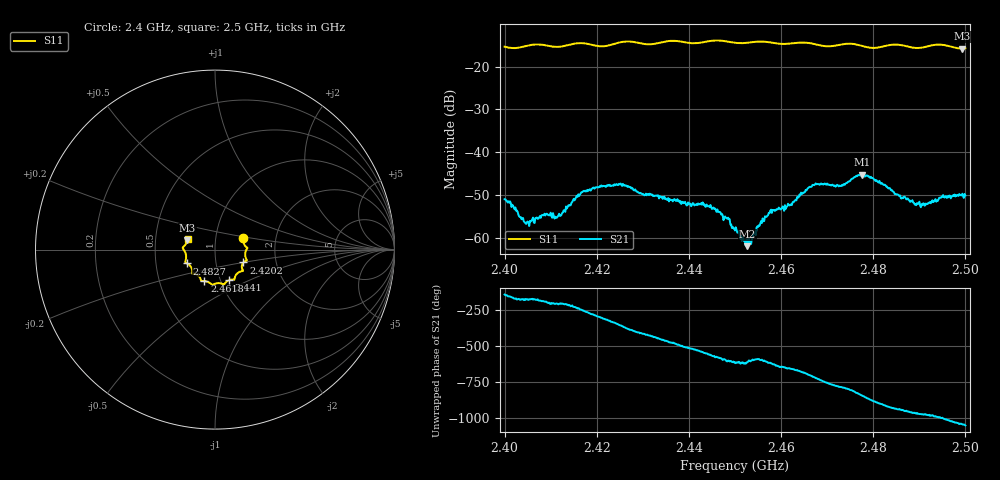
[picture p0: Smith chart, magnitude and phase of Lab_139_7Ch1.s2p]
# Hz S RI R 50
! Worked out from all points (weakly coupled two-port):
!   601 points, 2.4 GHz to 2.5 GHz, reference 50 ohm
!   highest |S21| = -45.27 dB at 2.4777 GHz (marker M1); lowest = -62.0 dB at 2.4527 GHz (marker M2)
!   lowest |S11| = -15.8 dB at 2.4993 GHz (marker M3), VSWR 1.39, Z = 36.5 + j3.85 ohm
!   |S11| at or under -10 dB: start of sweep to end of sweep
!   S12 and S22 are empty: the file has one direction only
!   S11 on the Smith chart (normalised r, x): 2.4 GHz: 1.36, +0.18; 2.4202 GHz: 1.36, -0.20; 2.441 GHz: 1.10, -0.39; 2.4618 GHz: 0.84, -0.30; 2.4827 GHz: 0.72, -0.11; 2.5 GHz: 0.73, +0.09
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2.4e9  0.1584 0.0628  -0.00218 -0.00178  0 0  0 0
2.404833e9  0.1738 0.0146  -0.00151 -0.000157  0 0  0 0
2.408667e9  0.1777 0.00374  -0.00187 0.000346  0 0  0 0
2.411833e9  0.1681 -0.026  -0.00173 0.000791  0 0  0 0
2.416667e9  0.1774 -0.0608  -0.0013 0.00313  0 0  0 0
2.420167e9  0.1583 -0.0713  0.00159 0.00355  0 0  0 0
2.425333e9  0.1551 -0.1151  0.00414 0.000206  0 0  0 0
2.433333e9  0.1116 -0.151  0.00024 -0.0031  0 0  0 0
2.441e9  0.0785 -0.1696  -0.00238 -0.000789  0 0  0 0
2.445167e9  0.052 -0.1935  -0.00192 0.00111  0 0  0 0
2.45e9  0.0283 -0.1872  -0.000355 0.00116  0 0  0 0
2.452667e9  0.00175 -0.1892  -0.000215 0.000765  0 0  0 0
2.457833e9  -0.0239 -0.1892  -0.000328 0.0021  0 0  0 0
2.461833e9  -0.0593 -0.1756  0.000994 0.00216  0 0  0 0
2.466667e9  -0.0787 -0.1684  0.00389 0.000782  0 0  0 0
2.473e9  -0.1201 -0.1346  0.00167 -0.00365  0 0  0 0
2.477667e9  -0.1268 -0.1188  -0.00336 -0.00429  0 0  0 0
2.482667e9  -0.1562 -0.0771  -0.00393 0.00111  0 0  0 0
2.483333e9  -0.1605 -0.0752  -0.00344 0.0015  0 0  0 0
2.490667e9  -0.1661 -0.0151  -0.000597 0.00232  0 0  0 0
2.499333e9  -0.1538 0.0514  0.00272 0.00179  0 0  0 0
2.5e9  -0.152 0.0608  0.00279 0.00136  0 0  0 0
